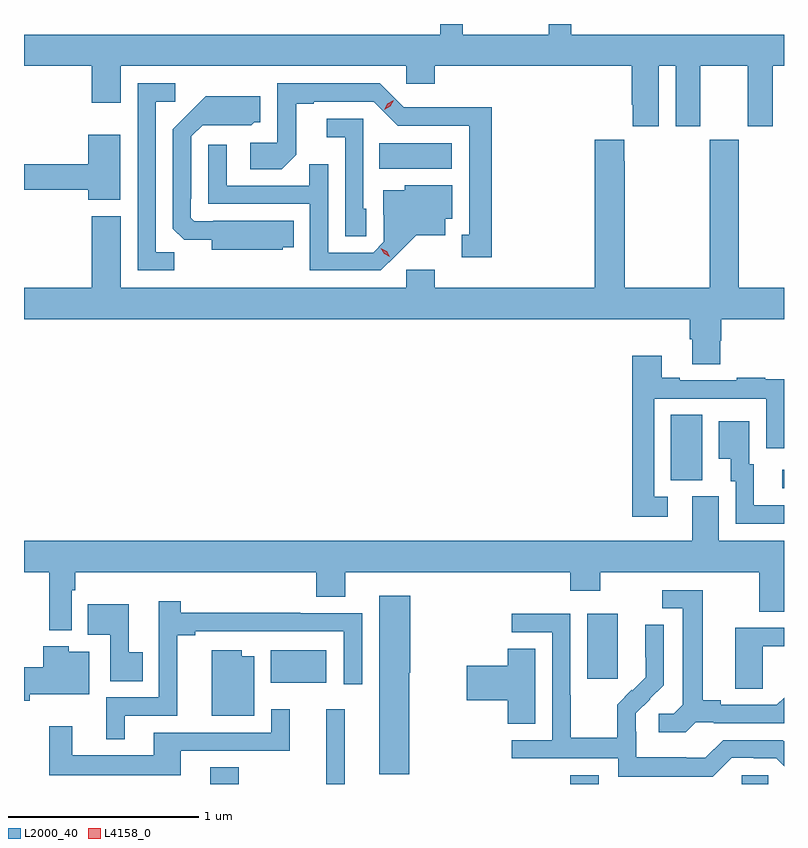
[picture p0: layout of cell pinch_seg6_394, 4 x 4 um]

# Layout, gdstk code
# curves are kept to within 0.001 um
import gdstk
lib = gdstk.Library(unit=1e-6, precision=1e-09)
def R(c, l, rs):  # rectangles x0, y0, x1, y1
    for r in rs: c.add(gdstk.rectangle(r[:2], r[2:], *l))
def P(c, l, *ps):  # polygons
    for p in ps: c.add(gdstk.Polygon(p, *l))
L2000_40 = (2000, 40)
L4158_0 = (4158, 0)

pinch_seg6_394 = lib.new_cell('pinch_seg6_394')
R(pinch_seg6_394, L2000_40, [(658.4,932.901,658.548,932.99), (659.009,932.901,659.108,933.295), (660.293,932.901,660.445,932.947), (661.197,932.901,661.335,932.946), (658.718,933.434,659.011,933.604), (660.383,933.456,660.544,933.796), (661.41,934.458,661.419,934.554), (660.824,934.501,660.988,934.844), (659.29,936.14,659.671,936.274)])
P(pinch_seg6_394, L2000_40, [(660.76,936.68),(660.848,936.68),(660.848,936.363),(660.979,936.363),(660.979,936.68),(661.229,936.68),(661.229,936.363),(661.36,936.363),(661.36,936.68),(661.419,936.68),(661.419,936.844),(660.299,936.844),(660.299,936.901),(660.182,936.901),(660.182,936.844),(659.729,936.844),(659.729,936.901),(659.611,936.901),(659.611,936.844),(657.419,936.844),(657.419,936.68),(657.776,936.68),(657.776,936.486),(657.928,936.486),(657.928,936.68),(659.43,936.68),(659.43,936.587),(659.582,936.587),(659.582,936.68),(660.617,936.68),(660.617,936.475),(660.623,936.475),(660.623,936.363),(660.76,936.363)],
  [(658.209,935.699),(658.113,935.699),(658.113,936.492),(658.216,936.492),(658.216,936.588),(658.017,936.588),(658.017,935.604),(658.209,935.604)],
  [(659.881,936.464),(659.64,936.464),(659.64,936.462),(659.418,936.462),(659.292,936.588),(658.752,936.588),(658.752,936.276),(658.611,936.276),(658.611,936.136),(658.775,936.136),(658.851,936.212),(658.851,936.48),(658.945,936.48),(658.945,936.492),(659.259,936.492),(659.385,936.366),(659.762,936.366),(659.762,935.793),(659.723,935.793),(659.723,935.673),(659.881,935.673)],
  [(658.782,935.726),(658.838,935.726),(658.838,935.866),(658.414,935.866),(658.414,935.862),(658.314,935.862),(658.296,935.88),(658.296,935.98),(658.299,935.98),(658.299,936.309),(658.359,936.369),(658.616,936.368),(658.632,936.384),(658.663,936.384),(658.663,936.52),(658.375,936.52),(658.203,936.346),(658.203,935.824),(658.262,935.765),(658.406,935.765),(658.406,935.714),(658.782,935.714)],
  [(659.22,935.928),(659.205,935.928),(659.205,936.402),(659.013,936.402),(659.013,936.305),(659.109,936.305),(659.109,935.785),(659.22,935.785)],
  [(657.925,936.319),(657.758,936.319),(657.758,936.164),(657.419,936.164),(657.419,936.028),(657.758,936.028),(657.758,935.975),(657.925,935.975)],
  [(661.083,935.235),(661.088,935.235),(661.088,935.348),(661.419,935.348),(661.419,935.512),(661.182,935.512),(661.182,936.292),(661.027,936.292),(661.027,935.512),(660.582,935.512),(660.582,936.179),(660.577,936.179),(660.577,936.292),(660.422,936.292),(660.422,935.512),(659.582,935.512),(659.582,935.608),(659.43,935.608),(659.43,935.512),(657.928,935.512),(657.928,935.89),(657.776,935.89),(657.776,935.512),(657.419,935.512),(657.419,935.348),(660.923,935.348),(660.923,935.242),(660.935,935.242),(660.935,935.11),(661.083,935.11)],
  [(659.38,935.687),(659.483,935.789),(659.635,935.789),(659.635,935.876),(659.674,935.876),(659.674,936.052),(659.424,936.052),(659.424,936.025),(659.309,936.025),(659.309,935.896),(659.313,935.896),(659.313,935.754),(659.256,935.697),(659.019,935.697),(659.019,936.164),(658.921,936.164),(658.921,936.051),(658.485,936.051),(658.485,936.265),(658.389,936.265),(658.389,935.955),(658.923,935.955),(658.923,935.604),(659.296,935.604)],
  [(660.808,934.413),(660.735,934.413),(660.735,934.929),(661.326,934.929),(661.326,934.668),(661.419,934.668),(661.419,935.031),(661.319,935.031),(661.319,935.038),(661.171,935.038),(661.171,935.025),(660.871,935.025),(660.871,935.038),(660.775,935.038),(660.775,935.155),(660.619,935.155),(660.619,934.308),(660.808,934.308)],
  [(661.419,934.368),(661.261,934.368),(661.261,934.584),(661.237,934.584),(661.237,934.81),(661.076,934.81),(661.076,934.613),(661.139,934.613),(661.139,934.494),(661.164,934.494),(661.164,934.272),(661.419,934.272)],
  [(657.669,933.92),(657.689,933.92),(657.689,934.016),(658.958,934.016),(658.958,933.886),(659.11,933.886),(659.11,934.016),(660.293,934.016),(660.293,933.917),(660.453,933.917),(660.453,934.016),(661.289,934.016),(661.289,933.808),(661.419,933.808),(661.419,934.18),(661.075,934.18),(661.075,934.416),(660.935,934.416),(660.935,934.18),(657.419,934.18),(657.419,934.016),(657.553,934.016),(657.553,933.71),(657.669,933.71)],
  [(660.954,933.225),(661.048,933.225),(661.048,933.222),(661.419,933.222),(661.419,933.355),(661.382,933.318),(661.087,933.318),(661.087,933.341),(660.991,933.341),(660.991,933.921),(660.777,933.921),(660.777,933.825),(660.887,933.825),(660.887,933.317),(660.84,933.27),(660.759,933.27),(660.759,933.173),(660.902,933.173)],
  [(659.447,933.486),(659.452,933.486),(659.452,933.892),(659.288,933.892),(659.288,932.952),(659.447,932.952)],
  [(657.949,933.261),(658.226,933.261),(658.226,933.685),(658.321,933.685),(658.321,933.705),(659.103,933.705),(659.103,933.426),(659.199,933.426),(659.199,933.801),(658.874,933.801),(658.874,933.803),(658.244,933.803),(658.244,933.862),(658.128,933.862),(658.128,933.357),(657.851,933.357),(657.851,933.137),(657.949,933.137)],
  [(658.043,933.594),(657.97,933.594),(657.97,933.847),(657.754,933.847),(657.754,933.686),(657.873,933.686),(657.873,933.442),(658.043,933.442)],
  [(661.143,933.039),(661.259,933.039),(661.259,933.036),(661.377,933.036),(661.419,932.994),(661.419,933.126),(661.413,933.132),(661.098,933.132),(661.005,933.039),(660.905,933.039),(660.905,933.043),(660.642,933.043),(660.642,933.177),(660.64,933.177),(660.64,933.274),(660.786,933.422),(660.786,933.74),(660.689,933.74),(660.689,933.568),(660.692,933.568),(660.692,933.464),(660.621,933.393),(660.618,933.396),(660.541,933.319),(660.541,933.145),(660.297,933.145),(660.297,933.368),(660.294,933.368),(660.294,933.798),(659.985,933.798),(659.985,933.699),(660.198,933.699),(660.198,933.132),(659.985,933.132),(659.985,933.036),(660.546,933.036),(660.546,932.939),(661.043,932.939)],
  [(661.308,933.627),(661.419,933.627),(661.419,933.723),(661.163,933.723),(661.163,933.403),(661.308,933.403)],
  [(657.45,933.374),(657.763,933.374),(657.763,933.598),(657.654,933.598),(657.654,933.625),(657.521,933.625),(657.521,933.515),(657.419,933.515),(657.419,933.338),(657.45,933.338)],
  [(660.109,933.614),(659.966,933.614),(659.966,933.524),(659.748,933.524),(659.748,933.341),(659.966,933.341),(659.966,933.217),(660.109,933.217)],
  [(658.63,933.574),(658.564,933.574),(658.564,933.604),(658.406,933.604),(658.406,933.26),(658.63,933.26)],
  [(658.243,933.075),(658.817,933.075),(658.817,933.295),(658.719,933.295),(658.719,933.171),(658.103,933.171),(658.103,933.052),(657.673,933.052),(657.673,933.205),(657.552,933.205),(657.552,932.948),(658.243,932.948)])
P(pinch_seg6_394, L4158_0, [(659.316,936.449),(659.316,936.449),(659.332,936.482),(659.364,936.501),(659.364,936.501),(659.364,936.501),(659.347,936.468),(659.316,936.449)],
  [(659.345,935.677),(659.314,935.692),(659.297,935.721),(659.297,935.721),(659.297,935.721),(659.328,935.706),(659.345,935.677),(659.345,935.677)])

lib.write_gds('pinch_seg6_394.gds')
